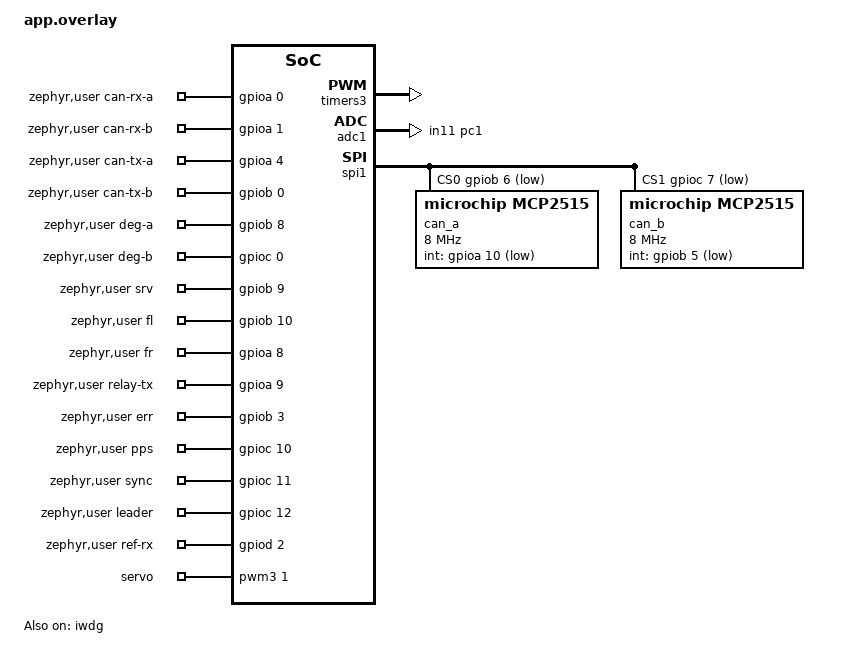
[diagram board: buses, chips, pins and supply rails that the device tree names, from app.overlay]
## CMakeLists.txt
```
cmake_minimum_required(VERSION 3.20.0)

find_package(Zephyr REQUIRED HINTS $ENV{ZEPHYR_BASE})
project(node2_front)

target_include_directories(app PRIVATE ${CMAKE_CURRENT_SOURCE_DIR}/../shared)

# Lab 5 startup mode, same on all three nodes (CMake caches these: pass
# -DLEADER=cockpit -DSEED= to go back):
#   west build ... -- -DLEADER=random            election at boot
#   west build ... -- -DLEADER=random -DSEED=408  reproducible; the Pi wins
if(DEFINED LEADER AND LEADER STREQUAL "random")
  target_compile_definitions(app PRIVATE RAFT_DEFAULT_LEADER=-1)
endif()
if(DEFINED SEED AND NOT SEED STREQUAL "")
  target_compile_definitions(app PRIVATE RAFT_ELECTION_SEED=${SEED}u)
endif()

target_sources(app PRIVATE
    ${CMAKE_CURRENT_SOURCE_DIR}/../shared/raft_agent.c
    ${CMAKE_CURRENT_SOURCE_DIR}/../shared/raft_transport.c
    ${CMAKE_CURRENT_SOURCE_DIR}/../shared/timesync.c
    # shared with node3_rear (identical files)
    src/main.c
    src/blink.c
    src/button.c
    src/canbus.c
    src/ctrl.c
    src/current_sensor.c
    src/evlog.c
    src/gtime.c
    src/hb.c
    src/relay.c
    src/raft_node.c
    src/report.c
    src/tp.c
    src/wcet.c
    src/jitter.c
    src/watchdog.c
    src/zone.c
    # N2 only: steering zone
    src/servo.c
    src/steer.c
)
```

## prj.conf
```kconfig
CONFIG_GPIO=y
CONFIG_SPI=y
CONFIG_CAN=y
# RX overrun counter in the 1 s summary (ovr=)
CONFIG_STATS=y
CONFIG_CAN_STATS=y
# CONFIG_CAN_MCP2515 is turned on automatically by the mcp2515 nodes in app.overlay
CONFIG_PWM=y
CONFIG_ADC=y
# Independent watchdog (R4.5) and reset-cause readout
CONFIG_WATCHDOG=y
CONFIG_HWINFO=y

CONFIG_CONSOLE=y
CONFIG_UART_CONSOLE=y
CONFIG_PRINTK=y

CONFIG_MAIN_STACK_SIZE=2048

# WCET measurement (src/wcet.c): per-thread CPU time, which stops while a
# thread is preempted or blocked. ANALYSIS adds the driver threads' longest run.
CONFIG_THREAD_RUNTIME_STATS=y
CONFIG_SCHED_THREAD_USAGE=y
CONFIG_SCHED_THREAD_USAGE_ANALYSIS=y
```

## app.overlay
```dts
/*
 * N2 (front, steering): two MCP2515 CAN modules on SPI1, the Lab 2 steering
 * servo and servo current sensor, and the Lab 3 test points.
 * Full pin and breadboard-row map: docs/lab3_pin_map.md
 */
#include <zephyr/dt-bindings/gpio/gpio.h>
#include <zephyr/dt-bindings/pwm/pwm.h>

/ {
	aliases {
		can-a = &can_a;
		can-b = &can_b;
	};

	zephyr,user {
		/* Test points (src/tp.c). Rows 1-2 of the test-point board are GND. */
		can-rx-a-gpios = <&gpioa 0 GPIO_ACTIVE_HIGH>;	/* row 3:  CAN_RX_A, A0 / PA0 */
		can-rx-b-gpios = <&gpioa 1 GPIO_ACTIVE_HIGH>;	/* row 4:  CAN_RX_B, A1 / PA1 */
		can-tx-a-gpios = <&gpioa 4 GPIO_ACTIVE_HIGH>;	/* row 5:  CAN_TX_A, A2 / PA4 */
		can-tx-b-gpios = <&gpiob 0 GPIO_ACTIVE_HIGH>;	/* row 6:  CAN_TX_B, A3 / PB0 */
		deg-a-gpios    = <&gpiob 8 GPIO_ACTIVE_HIGH>;	/* row 7:  DEG_A,    D15 / PB8, LED */
		deg-b-gpios    = <&gpioc 0 GPIO_ACTIVE_HIGH>;	/* row 8:  DEG_B,    A5 / PC0, LED */
		srv-gpios      = <&gpiob 9 GPIO_ACTIVE_HIGH>;	/* row 9:  SRV,      D14 / PB9: toggles on each servo duty set (servo PWM itself: D5 / PB4) */
		fl-gpios       = <&gpiob 10 GPIO_ACTIVE_HIGH>;	/* row 10: FL,       D6 / PB10, LED */
		fr-gpios       = <&gpioa 8 GPIO_ACTIVE_HIGH>;	/* row 11: FR,       D7 / PA8,  LED */
		relay-tx-gpios = <&gpioa 9 GPIO_ACTIVE_HIGH>;	/* row 12: RELAY_TX, D8 / PA9 */
		err-gpios      = <&gpiob 3 GPIO_ACTIVE_HIGH>;	/* row 13: ERR,      D3 / PB3 */
		/* Lab 5 (src/gtime.c). No Arduino pin is free, so N2 and N3 use the same
		 * morpho pins, labelled on the board: CN7 pins 1-4 (top of the left header). */
		pps-gpios      = <&gpioc 10 GPIO_ACTIVE_HIGH>;	/* PPS:    PC10, morpho CN7 pin 1 (rising edge each global second) */
		sync-gpios     = <&gpioc 11 GPIO_ACTIVE_HIGH>;	/* SYNC:   PC11, morpho CN7 pin 2 (LED) */
		leader-gpios   = <&gpioc 12 GPIO_ACTIVE_HIGH>;	/* LEADER: PC12, morpho CN7 pin 3 (LED) */
		ref-rx-gpios   = <&gpiod 2 GPIO_ACTIVE_HIGH>;	/* REF_RX: PD2,  morpho CN7 pin 4 (toggles per REF used) */

		/* Steering servo (src/servo.c), 50 Hz, as in Lab 2 */
		pwms = <&pwm3 1 PWM_MSEC(20) PWM_POLARITY_NORMAL>;
		pwm-names = "servo";
	};
};

/* ---- Board defaults that sit on pins this node uses ---- */
/* ---- Independent watchdog (src/watchdog.c); the window watchdog stays off ---- */
&iwdg { status = "okay"; };
&wwdg { status = "disabled"; };
&gpiod { status = "okay"; };	/* PD2: REF_RX test point */

&usart1 { status = "disabled"; };	/* PB6/PB7: PB6 is CAN A chip select */
&i2c1 { status = "disabled"; };		/* PB8/PB9: DEG_A, SRV */
&i2c3 { status = "disabled"; };		/* PA8/PC9: PA8 is FR */
&pwm2 { status = "disabled"; };		/* PWM LED on PA5 = SPI1 SCK */
&timers2 { status = "disabled"; };

/* ---- Servo PWM on D5 / PB4 (TIM3_CH1), 1 MHz timer tick (Lab 2) ---- */
&timers3 {
	status = "okay";
	st,prescaler = <83>;

	pwm3: pwm {
		status = "okay";
		pinctrl-0 = <&tim3_ch1_pb4>;
		pinctrl-names = "default";
	};
};

/* ---- Servo current sensor: PC1 = ADC1_IN11 (Lab 2) ---- */
&adc1 {
	pinctrl-0 = <&adc1_in11_pc1>;
	pinctrl-names = "default";
	status = "okay";
};

/*
 * ---- Two XIAO CAN modules (MCP2515 + SN65HVD230) on SPI1 ----
 *
 *   Module   Function   Nucleo
 *   D8       SCK        D13 / PA5   (shared)
 *   D10      MOSI       D11 / PA7   (shared)
 *   D9       MISO       D12 / PA6   (shared)
 *   D7       CS         CAN A: D10 / PB6    CAN B: D9 / PC7
 *   D6       INT        CAN A: D2  / PA10   CAN B: D4 / PB5
 *
 * osc-freq must match the crystal printed on the module's metal can.
 */
&spi1 {
	status = "okay";
	cs-gpios = <&gpiob 6 GPIO_ACTIVE_LOW>,	/* reg 0: CAN A */
		   <&gpioc 7 GPIO_ACTIVE_LOW>;	/* reg 1: CAN B */

	can_a: can@0 {
		compatible = "microchip,mcp2515";
		reg = <0>;
		/*
		 * Requests 8 MHz; SPI1 runs from the 84 MHz APB2 clock with power-of-two
		 * dividers, so the real clock is 84/16 = 5.25 MHz (4 MHz gave 2.625).
		 * Lab 5: N2 relays ~190 frames/s over this shared bus; at 2.625 MHz its
		 * TX completions fell behind and heartbeats found all 3 TX buffers busy.
		 * History: 1 MHz lost back-to-back frames. MCP2515 max is 10 MHz.
		 */
		spi-max-frequency = <8000000>;
		int-gpios = <&gpioa 10 (GPIO_ACTIVE_LOW | GPIO_PULL_UP)>;
		osc-freq = <16000000>;
		bitrate = <500000>;
		status = "okay";
	};

	can_b: can@1 {
		compatible = "microchip,mcp2515";
		reg = <1>;
		spi-max-frequency = <8000000>;
		int-gpios = <&gpiob 5 (GPIO_ACTIVE_LOW | GPIO_PULL_UP)>;
		osc-freq = <16000000>;
		bitrate = <500000>;
		status = "okay";
	};
};
```

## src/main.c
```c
/*
 * Lab 3 zone controller: shared dual-CAN layer, heartbeats, HB_MON with
 * degraded LEDs and zone failure, the N2 relay, test points, and the Lab 2
 * actuators and sensors for this zone (app.h: steer.c on N2, drive.c on N3).
 *
 * Threads (priority, lower = higher; all values in lab3_config.h):
 *   MCP2515 driver x2 (2)  SPI frame reads, toggles CAN_RX_A/B via canbus rx_cb
 *   relay      (3, N2)     bridges selected first copies to the other bus, RELAY_TX
 *   dispatch   (4)         dedup by (ID, seq), heartbeat ages, CTRL check,
 *                          HB/FAULT -> zone state, BLINK -> blink
 *   steer      (5, N2)     CTRL -> servo angle
 *   drive      (5, N3)     CTRL -> brake / coast / PID target
 *   blink      (5)         this zone's two blinker lamps
 *   test_btn   (5)         USER button B1 -> local fault / recover
 *   pid        (6, N3)     encoders -> motor duty every 10 ms
 *   pps        (6)         Lab 5: PPS edge on each global second, SYNC snapshot
 *   hb_tx      (7)         HB every 20 ms on both buses
 *   hb_mon     (8)         every 5 ms: DEG_A/B, zone lost, zone state, ERR, watchdog
 *   force      (9, N2)     FORCE every 50 ms
 *   current    (10)        current sensors every 20 ms
 *   report     (12)        console summary once a second
 *
 * Console: USART2 / ST-LINK virtual COM port, 115200 baud.
 */
#include <zephyr/kernel.h>
#include <zephyr/sys/printk.h>

#include "app.h"
#include "blink.h"
#include "button.h"
#include "canbus.h"
#include "gtime.h"
#include "ctrl.h"
#include "hb.h"
#include "lab3_config.h"
#include "node_config.h"
#include "raft_node.h"
#include "raft_config.h"
#include "relay.h"
#include "report.h"
#include "tp.h"
#include "watchdog.h"
#include "wcet.h"
#include "zone.h"

/* Dispatch thread: route the first copy of each frame. */
static void on_frame(const struct can_frame *frame, int bus)
{
	if (catalog_is_raft(frame->id)) {
		if ((frame->id & ~3u) == ID_REF(0)) {
			gtime_on_ref(frame, canbus_rx_cycles()); /* before any queueing */
		}
		raft_node_receive(frame);
		return;
	}
	if (frame->id == ID_CTRL) {
		ctrl_on_frame(frame);
	} else if (frame->id == ID_BLINK) {
		blink_on_frame(frame);
	} else if (catalog_is_hb(frame->id) || (frame->id >= ID_FAULT(0) && frame->id < ID_FAULT(NUM_NODES))) {
		zone_on_frame(frame);
	}
	app_on_frame(frame, bus);
}

int main(void)
{
	printk("Lab 3 zone %s: heartbeat 0x%03x every %d ms, relay %s\n", NODE_NAME,
	       ID_HB(NODE_SELF), HB_PERIOD_MS, RELAY_ENABLED ? "on" : "off");

	tp_init();
	wcet_init();
	if (TP_WALK_MS > 0) {
		tp_selftest(TP_WALK_MS);
	}
	/* Power up in the error state with both buses degraded until heartbeats arrive. */
	tp_set(TP_ERR, 1);
	tp_set(TP_DEG_A, 1);
	tp_set(TP_DEG_B, 1);

	gtime_init(); /* before CAN: the first REF may arrive at once */
	canbus_set_handler(on_frame);
	if (canbus_init() < 0) {
		printk("no CAN controller came up\n");
	}
	raft_node_init();
	relay_init();
	hb_init();
	report_init();

	/* Actuators safe, sensors calibrated (~0.75 s), then the zone's tasks. */
	int ret = app_init();

	if (ret < 0) {
		printk("app_init failed (%d): actuators stay in their safe state\n", ret);
	}
	blink_init();
	if (button_init() < 0) {
		printk("test button init failed\n");
	}
	/* Last, and only if the actuator task is running: it has to check in. */
	if (ret == 0) {
		watchdog_init();
	} else {
		printk("watchdog not started (no actuator task to supervise)\n");
	}
	return 0;
}
```

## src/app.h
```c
/*
 * Node-specific application, implemented by steer.c (N2) or drive.c (N3).
 * main.c and report.c are shared and call these.
 */
#ifndef APP_H
#define APP_H

#include <zephyr/drivers/can.h>

/* Puts actuators in their safe state, calibrates sensors, starts the tasks. */
int app_init(void);

/* Called by the dispatch thread with the first copy of each catalog frame. */
void app_on_frame(const struct can_frame *frame, int bus);

/* One or two lines for the once-a-second console summary. */
void app_report(void);

#endif /* APP_H */
```

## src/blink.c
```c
#include "blink.h"

#include <zephyr/kernel.h>
#include <zephyr/sys/atomic.h>

#include "catalog.h"
#include "blink_phase.h"
#include "evlog.h"
#include "gtime.h"
#include "hb.h"
#include "lab3_config.h"
#include "node_config.h"
#include "tp.h"
#include "wcet.h"
#include "zone.h"

#define BLINK_STACK_SIZE 1024
#define BLINK_POLL_US    10000 /* re-check zone, peers and BLINK age at least this often */

static atomic_t last_bits;      /* byte 1 of the last BLINK */
static atomic_t last_rx_ms;     /* 0 = never */
static atomic_t local_hazard;   /* half period of a local hazard, 0 = none */
static atomic_t lamp_half_ms;   /* half period now in use, 0 = lamps off */
static atomic_t lamps;          /* bit 0 left, bit 1 right: what's lit now */

K_SEM_DEFINE(blink_new, 0, 1);
K_THREAD_STACK_DEFINE(blink_stack, BLINK_STACK_SIZE);
static struct k_thread blink_data;

void blink_on_frame(const struct can_frame *frame)
{
	uint32_t now = k_uptime_get_32();

	atomic_set(&last_bits, frame->data[1]);
	atomic_set(&last_rx_ms, now != 0 ? now : 1);
	k_sem_give(&blink_new);
}

static void set_lamps(bool left, bool right)
{
	tp_set(BLINK_LAMP_LEFT, left);
	tp_set(BLINK_LAMP_RIGHT, right);
	atomic_set(&lamps, (left ? 1 : 0) | (right ? 2 : 0));
}

/* Half period for a cockpit BLINK mode; 0 = off. */
static uint32_t mode_half_ms(uint8_t mode)
{
	if (mode == (BLINK_LEFT | BLINK_RIGHT)) {
		return BLINK_HAZARD_HALF_MS;
	}
	return mode ? BLINK_TURN_HALF_MS : 0;
}

static void blink_thread(void *p1, void *p2, void *p3)
{
	uint8_t logged_mode = 0;
	uint32_t wait_us = 0;
	struct wcet_job job = WCET_JOB(WCET_BLINK);

	ARG_UNUSED(p1);
	ARG_UNUSED(p2);
	ARG_UNUSED(p3);

	for (;;) {
		/* A frame wakes us at once; otherwise the next lamp edge, or 10 ms. */
		wcet_end(&job);
		k_sem_take(&blink_new, K_USEC(wait_us));
		wcet_begin(&job);

		uint32_t now = k_uptime_get_32();
		uint32_t rx = (uint32_t)atomic_get(&last_rx_ms);
		/* Cockpit down: the vehicle's failure mode, hazards at 4 Hz. */
		bool failure = !hb_peer_alive(NODE_N1);
		bool hazard_here = zone_state() == ZONE_ISOLATED || failure ||
				   rx == 0 || now - rx > BLINK_STALE_MS;
		uint32_t half_ms;
		bool left, right;

		if (hazard_here) {
			half_ms = failure ? BLINK_FAILURE_HALF_MS : BLINK_HAZARD_HALF_MS;
			if ((uint32_t)atomic_get(&local_hazard) != half_ms) {
				if (zone_state() == ZONE_ISOLATED) {
					evlog("local hazard ON (%u Hz): zone ISOLATED", 500u / half_ms);
				} else if (failure) {
					evlog("local hazard ON (%u Hz): N1 heartbeat lost, failure mode",
					      500u / half_ms);
				} else if (rx == 0) {
					evlog("local hazard ON (%u Hz): no BLINK received yet",
					      500u / half_ms);
				} else {
					evlog("local hazard ON (%u Hz): no BLINK for %u ms",
					      500u / half_ms, now - rx);
				}
				atomic_set(&local_hazard, (atomic_val_t)half_ms);
			}
			left = right = true;
		} else {
			if (atomic_get(&local_hazard)) {
				evlog("local hazard off");
			}
			atomic_set(&local_hazard, 0);

			uint8_t mode = (uint8_t)atomic_get(&last_bits) & (BLINK_LEFT | BLINK_RIGHT);

			if (mode != logged_mode) {
				static const char *const names[] = {"off", "LEFT", "RIGHT", "HAZARD"};

				evlog("cockpit BLINK %s -> %s", names[logged_mode], names[mode]);
				logged_mode = mode;
			}
			half_ms = mode_half_ms(mode);
			left = mode & BLINK_LEFT;
			right = mode & BLINK_RIGHT;
		}
		atomic_set(&lamp_half_ms, (atomic_val_t)half_ms);

		/* Phase from global time, not from the BLINK frame: front and rear
		 * switch at the same global instant (shared/blink_phase.h). */
		uint64_t g = global_gettime();
		bool on = blink_phase_on(g, half_ms);

		set_lamps(on && left, on && right);

		uint64_t to_edge = half_ms ? blink_us_to_edge(g, half_ms) : BLINK_POLL_US;

		wait_us = (uint32_t)(to_edge < BLINK_POLL_US ? to_edge : BLINK_POLL_US);
	}
}

const char *blink_describe(void)
{
	static const char *const names[] = {"off", "LEFT", "RIGHT", "HAZARD"};
	static char buf[40];
	uint8_t bits = (uint8_t)atomic_get(&last_bits) & (BLINK_LEFT | BLINK_RIGHT);
	bool local = atomic_get(&local_hazard) != 0;
	uint32_t half = (uint32_t)atomic_get(&lamp_half_ms);
	int l = (int)atomic_get(&lamps);

	snprintk(buf, sizeof(buf), "%s%s %uHz, lamps %s", local ? "HAZARD" : names[bits],
		 local ? " (local)" : "", half ? 500u / half : 0u,
		 l == 3 ? "both on" : (l == 1 ? "L on" : (l == 2 ? "R on" : "off")));
	return buf;
}

int blink_init(void)
{
	k_thread_create(&blink_data, blink_stack, K_THREAD_STACK_SIZEOF(blink_stack), blink_thread,
			NULL, NULL, NULL, PRIO_BLINK, 0, K_NO_WAIT);
	k_thread_name_set(&blink_data, "blink");
	return 0;
}
```

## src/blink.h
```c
/*
 * BLINK_F (N2) / BLINK_R (N3): this zone's two blinker lamps (BLINK_LAMP_LEFT /
 * BLINK_LAMP_RIGHT in node_config.h).
 *
 * The cockpit's BLINK frames choose the mode (off, left, right, hazard). The
 * lamp phase comes from global_gettime() (shared/blink_phase.h), so front and
 * rear switch at the same global instant: turn signals 1 Hz, hazards 2 Hz.
 * If N1's heartbeat is lost (cockpit down: failure mode) the zone flashes
 * hazards at 4 Hz. If the zone is ISOLATED or no BLINK arrives for
 * BLINK_STALE_MS (2.6 s), it flashes hazards at 2 Hz. Phases stay
 * global-time aligned in every case.
 */
#ifndef BLINK_H
#define BLINK_H

#include <zephyr/drivers/can.h>

int blink_init(void);

/* Dispatch thread, first copy of each BLINK frame. */
void blink_on_frame(const struct can_frame *frame);

/* For the report: "LEFT on", "HAZARD (local) off", ... */
const char *blink_describe(void);

#endif /* BLINK_H */
```

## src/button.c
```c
/*
 * TEST_BTN: the Nucleo's blue USER button B1 (PC13, the board's sw0). The GPIO
 * interrupt only gives a semaphore; this thread debounces (TEST_BTN_DEBOUNCE_MS
 * lockout after an accepted press, so the first edge acts at once) and hands
 * the press to the zone state machine. Single press = local fail, double
 * press = recover (zone.c).
 */
#include "button.h"

#include <zephyr/drivers/gpio.h>
#include <zephyr/kernel.h>
#include <zephyr/sys/printk.h>

#include "lab3_config.h"
#include "wcet.h"
#include "zone.h"

#define BUTTON_STACK_SIZE 1024

static const struct gpio_dt_spec button = GPIO_DT_SPEC_GET(DT_ALIAS(sw0), gpios);
static struct gpio_callback button_cb;

K_SEM_DEFINE(button_sem, 0, 1);
K_THREAD_STACK_DEFINE(button_stack, BUTTON_STACK_SIZE);
static struct k_thread button_data;

static void button_isr(const struct device *dev, struct gpio_callback *cb, uint32_t pins)
{
	ARG_UNUSED(dev);
	ARG_UNUSED(cb);
	ARG_UNUSED(pins);
	k_sem_give(&button_sem);
}

static void button_thread(void *p1, void *p2, void *p3)
{
	uint32_t last_press = 0;
	bool first = true;
	struct wcet_job job = WCET_JOB(WCET_TEST_BTN);

	ARG_UNUSED(p1);
	ARG_UNUSED(p2);
	ARG_UNUSED(p3);

	for (;;) {
		wcet_end(&job);
		k_sem_take(&button_sem, K_FOREVER);
		wcet_begin(&job);

		uint32_t now = k_uptime_get_32();

		if (!first && now - last_press < TEST_BTN_DEBOUNCE_MS) {
			continue; /* contact bounce */
		}
		first = false;
		last_press = now;
		zone_test_button();
	}
}

int button_init(void)
{
	int ret;

	if (!gpio_is_ready_dt(&button)) {
		return -ENODEV;
	}
	ret = gpio_pin_configure_dt(&button, GPIO_INPUT);
	ret = ret ? ret : gpio_pin_interrupt_configure_dt(&button, GPIO_INT_EDGE_TO_ACTIVE);
	if (ret < 0) {
		return ret;
	}
	gpio_init_callback(&button_cb, button_isr, BIT(button.pin));
	gpio_add_callback(button.port, &button_cb);

	k_thread_create(&button_data, button_stack, K_THREAD_STACK_SIZEOF(button_stack),
			button_thread, NULL, NULL, NULL, PRIO_TEST_BTN, 0, K_NO_WAIT);
	k_thread_name_set(&button_data, "test_btn");
	return 0;
}
```

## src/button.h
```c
/* TEST_BTN on the USER button B1 (PC13). */
#ifndef BUTTON_H
#define BUTTON_H

int button_init(void);

#endif /* BUTTON_H */
```

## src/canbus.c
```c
#include "canbus.h"

#include <string.h>

#include <zephyr/kernel.h>
#include <zephyr/sys/printk.h>

#include "lab3_config.h"
#include "node_config.h"
#include "raft_node.h"
#include "raft_route.h"
#include "tp.h"
#include "jitter.h"
#include "wcet.h"

#define DISPATCH_STACK_SIZE 1536
#define RX_QUEUE_DEPTH      32

static const struct device *const can_devs[NUM_BUSES] = {
	DEVICE_DT_GET(DT_ALIAS(can_a)),
	DEVICE_DT_GET(DT_ALIAS(can_b)),
};
static const char bus_name[NUM_BUSES] = {'A', 'B'};
static const enum tp_id tp_rx[NUM_BUSES] = {TP_CAN_RX_A, TP_CAN_RX_B};
static const enum tp_id tp_tx[NUM_BUSES] = {TP_CAN_TX_A, TP_CAN_TX_B};

const uint16_t canbus_slot_id[CANBUS_NUM_SLOTS] = {
	ID_CTRL,
	ID_FAULT(NODE_N1), ID_FAULT(NODE_N2), ID_FAULT(NODE_N3),
	ID_HB(NODE_N1), ID_HB(NODE_N2), ID_HB(NODE_N3),
	ID_BLINK,
	ID_FORCE,
};

/* Hardware filters: masks cover the FAULT and HB ranges in one filter each. */
static const struct can_filter catalog_filters[] = {
	{.id = ID_CTRL, .mask = CAN_STD_ID_MASK},
	{.id = ID_FAULT(0), .mask = 0x7FC}, /* 0x020-0x023 */
	{.id = ID_HB(0), .mask = 0x7FC},    /* 0x100-0x103 */
	/* BLINK 0x200 and FORCE 0x300 differ only in bit 8: one filter keeps us at six. */
	{.id = ID_BLINK, .mask = CAN_STD_ID_MASK & ~(ID_BLINK ^ ID_FORCE)},
	{.id = ID_REF(0), .mask = RAFT_REF_FILTER_MASK},          /* 0x040-0x043 */
	{.id = ID_RAFT_BULK_BASE, .mask = RAFT_BULK_FILTER_MASK}, /* 0x140-0x17F */
};

struct canbus_stats canbus_stats;

static bool bus_running[NUM_BUSES];
static atomic_t bus_degraded[NUM_BUSES];
/*
 * Frames handed to the MCP2515 and not yet completed, per bus. The chip has
 * three TX buffers; bulk Raft fragments may use at most RAFT_TX_MAX_INFLIGHT
 * of them, so a heartbeat, CTRL, or FAULT (sent with K_NO_WAIT) always finds
 * one free. REF is a single periodic frame and is not limited.
 */
static atomic_t tx_inflight[NUM_BUSES];
static atomic_t bus_busoff[NUM_BUSES];

static canbus_handler_t relay_hook;
static uint32_t cur_rx_t; /* dispatch thread: t_rx of the frame being handled */
static canbus_handler_t app_handler;

/* Per-ID send sequence counters. */
static uint8_t tx_seq[CANBUS_NUM_SLOTS];
static struct k_spinlock tx_lock;

/* HB_TX and HB_MON can both flush a bus; one stop/start at a time. */
K_MUTEX_DEFINE(flush_lock);

/* Dispatch thread state (only the dispatch thread writes these). */
struct seen {
	int64_t ms;
	uint8_t seq;
	bool valid;
};
static struct seen seen[CANBUS_NUM_SLOTS];
struct raft_recent {
	uint32_t id;
	int64_t ms;
	uint8_t data[FRAME_DLC];
};
static struct raft_recent raft_recent[32];
static uint8_t raft_recent_next;
/* 32-bit so other threads read it in one access; 0 = never heard. */
static uint32_t last_hb_ms[NUM_BUSES][NUM_NODES];

struct rx_item {
	uint8_t bus;
	uint32_t t_rx; /* k_cycle_get_32() in rx_cb */
	struct can_frame frame;
};
K_MSGQ_DEFINE(rx_q, sizeof(struct rx_item), RX_QUEUE_DEPTH, 4);

K_THREAD_STACK_DEFINE(dispatch_stack, DISPATCH_STACK_SIZE);
static struct k_thread dispatch_thread_data;

static int slot_of(uint32_t id)
{
	for (int i = 0; i < CANBUS_NUM_SLOTS; i++) {
		if (canbus_slot_id[i] == id) {
			return i;
		}
	}
	return -1;
}

static bool raft_duplicate(const struct can_frame *f, int64_t now)
{
	for (size_t i = 0; i < ARRAY_SIZE(raft_recent); i++) {
		if (raft_recent[i].id == f->id && now - raft_recent[i].ms < DUP_WINDOW_MS &&
		    memcmp(raft_recent[i].data, f->data, FRAME_DLC) == 0) {
			return true;
		}
	}
	struct raft_recent *r = &raft_recent[raft_recent_next++ % ARRAY_SIZE(raft_recent)];

	r->id = f->id;
	r->ms = now;
	memcpy(r->data, f->data, FRAME_DLC);
	return false;
}

const struct device *canbus_dev(int bus)
{
	return can_devs[bus];
}

/* MCP2515 driver thread, right after the SPI read: no printing, just queue it. */
static void rx_cb(const struct device *dev, struct can_frame *frame, void *user_data)
{
	struct rx_item item = {.bus = (uint8_t)(uintptr_t)user_data, .frame = *frame};

	ARG_UNUSED(dev);
	item.t_rx = jit_now();
	tp_toggle(tp_rx[item.bus]);
	wcet_driver_seen(item.bus);
	if (k_msgq_put(&rx_q, &item, K_NO_WAIT) != 0) {
		atomic_inc(&canbus_stats.rx_dropped);
	}
}

static void tx_cb(const struct device *dev, int error, void *user_data)
{
	int bus = (int)(uintptr_t)user_data;

	ARG_UNUSED(dev);
	if (atomic_dec(&tx_inflight[bus]) <= 0) {
		atomic_set(&tx_inflight[bus], 0); /* never below zero after a flush */
	}
	atomic_inc(error == 0 ? &canbus_stats.bus[bus].tx_ok : &canbus_stats.bus[bus].tx_err);
}

/* Counts the buffer before can_send() so tx_cb can never run first. */
static int send_counted(int bus, const struct can_frame *frame, k_timeout_t wait)
{
	struct canbus_bus_stats *b = &canbus_stats.bus[bus];
	atomic_val_t now = atomic_inc(&tx_inflight[bus]) + 1;

	if (now > atomic_get(&b->infl_max)) {
		atomic_set(&b->infl_max, now);
	}
	int ret = can_send(can_devs[bus], frame, wait, tx_cb, (void *)(uintptr_t)bus);

	if (ret < 0) {
		atomic_dec(&tx_inflight[bus]);
	} else {
		atomic_inc(&b->tx_queued);
	}
	return ret;
}

static bool is_raft_bulk(uint32_t id)
{
	return catalog_is_raft(id) && (id & ~3u) != ID_REF(0);
}

bool canbus_raft_tx_ready(int bus)
{
	return atomic_get(&tx_inflight[bus]) < RAFT_TX_MAX_INFLIGHT;
}

bool canbus_raft_wait_reserve(int bus)
{
	uint32_t start = k_cycle_get_32();

	while (!canbus_raft_tx_ready(bus)) {
		if (k_cyc_to_us_floor32(k_cycle_get_32() - start) >= RAFT_TX_RESERVE_WAIT_US) {
			return false;
		}
		k_sleep(K_USEC(100));
	}
	return true;
}

long canbus_tx_inflight(int bus)
{
	return (long)atomic_get(&tx_inflight[bus]);
}

static void state_cb(const struct device *dev, enum can_state state, struct can_bus_err_cnt err,
		     void *user_data)
{
	ARG_UNUSED(dev);
	ARG_UNUSED(err);
	if (state == CAN_STATE_BUS_OFF) {
		atomic_set(&bus_busoff[(int)(uintptr_t)user_data], 1);
	}
}

static void dispatch_thread(void *p1, void *p2, void *p3)
{
	struct rx_item item;
	struct wcet_job job = WCET_JOB(WCET_DISPATCH);

	ARG_UNUSED(p1);
	ARG_UNUSED(p2);
	ARG_UNUSED(p3);

	for (;;) {
		wcet_end(&job);
		k_msgq_get(&rx_q, &item, K_FOREVER);
		wcet_begin(&job);

		const struct can_frame *f = &item.frame;

		job.slot = f->id == ID_CTRL ? WCET_DISPATCH_CTRL : WCET_DISPATCH;
		int slot = slot_of(f->id);
		int sender = catalog_sender(f->id);
		int64_t now = k_uptime_get();
		if (catalog_is_raft(f->id) && f->dlc == FRAME_DLC) {
			if (sender == NODE_SELF) {
				atomic_inc(&canbus_stats.own_echo);
			} else if (raft_duplicate(f, now)) {
				atomic_inc(&canbus_stats.duplicates);
			} else {
				cur_rx_t = item.t_rx;
				if (relay_hook) {
					relay_hook(f, item.bus);
				}
				if (app_handler) {
					app_handler(f, item.bus);
				}
			}
			continue;
		}

		if (slot < 0 || f->dlc != FRAME_DLC) {
			atomic_inc(&canbus_stats.unknown_id);
			continue;
		}
		atomic_inc(&canbus_stats.bus[item.bus].rx[slot]);

		/* Our own frame, relayed back to us by N2. */
		if (sender == NODE_SELF) {
			atomic_inc(&canbus_stats.own_echo);
			continue;
		}

		/* Presence counts every copy: a relayed heartbeat still means "alive". */
		if (catalog_is_hb(f->id)) {
			uint32_t t = (uint32_t)now;

			last_hb_ms[item.bus][sender] = t != 0 ? t : 1;
		}

		uint8_t seq = f->data[0] & SEQ_MASK;
		struct seen *s = &seen[slot];

		if (s->valid && s->seq == seq && now - s->ms < DUP_WINDOW_MS) {
			atomic_inc(&canbus_stats.duplicates);
			continue;
		}
		if (s->valid && seq != ((s->seq + 1) & SEQ_MASK)) {
			atomic_add(&canbus_stats.gaps[slot], (seq - s->seq - 1) & SEQ_MASK);
		}
		s->seq = seq;
		s->ms = now;
		s->valid = true;
		atomic_inc(&canbus_stats.accepted[slot]);

		cur_rx_t = item.t_rx;
		if (relay_hook) {
			relay_hook(f, item.bus);
		}
		if (app_handler) {
			app_handler(f, item.bus);
		}
	}
}

uint32_t canbus_rx_cycles(void)
{
	return cur_rx_t;
}

static int queue_on(int bus, const struct can_frame *frame, uint32_t release, bool relayed,
		    k_timeout_t wait)
{
	int ret;

	tp_toggle(tp_tx[bus]);
	ret = send_counted(bus, frame, wait);
	if (ret == 0) {
		jit_note(frame->id, bus, release, relayed);
	}
	if (ret == -EAGAIN) {
		atomic_inc(&canbus_stats.bus[bus].tx_full); /* all 3 TX buffers busy */
	} else if (ret < 0) {
		atomic_inc(&canbus_stats.bus[bus].tx_err);
	}
	return ret;
}

int canbus_send(uint32_t id, uint8_t payload[FRAME_DLC], bool include_degraded)
{
	return canbus_send_at(id, payload, include_degraded, 0);
}

int canbus_send_raft(uint32_t id, const uint8_t payload[FRAME_DLC])
{
	struct can_frame frame = {.id = id, .dlc = FRAME_DLC};
	int sent = 0;

	if (!catalog_is_raft(id) || catalog_sender(id) != NODE_SELF) {
		return -EINVAL;
	}
	memcpy(frame.data, payload, FRAME_DLC);
	for (int bus = 0; bus < NUM_BUSES; bus++) {
		if (!bus_running[bus] || atomic_get(&bus_degraded[bus])) {
			continue;
		}
		if (!raft_route_send_on_bus(raft_node_route_snapshot(), NODE_SELF, bus,
			bus_running[1 - bus] && !atomic_get(&bus_degraded[1 - bus]))) {
			atomic_inc(&canbus_stats.bus[bus].tx_skipped);
			continue;
		}
		/*
		 * Prefer to leave the last TX buffer to Lab 3 frames, but never skip a
		 * fragment for it: a missing fragment loses the whole message.
		 */
		if (is_raft_bulk(id) && !canbus_raft_wait_reserve(bus)) {
			atomic_inc(&canbus_stats.bus[bus].raft_late);
		}
		tp_toggle(tp_tx[bus]);
		int ret = send_counted(bus, &frame, K_MSEC(2));
		if (ret == 0) {
			sent++;
		} else if (ret == -EAGAIN) {
			atomic_inc(&canbus_stats.bus[bus].tx_full);
		} else {
			atomic_inc(&canbus_stats.bus[bus].tx_err);
		}
	}
	return sent ? 0 : -EIO;
}

int canbus_send_at(uint32_t id, uint8_t payload[FRAME_DLC], bool include_degraded,
		   uint32_t release)
{
	int slot = slot_of(id);
	struct can_frame frame = {.id = id, .dlc = FRAME_DLC};
	int sent = 0;

	if (slot < 0) {
		return -EINVAL;
	}

	k_spinlock_key_t key = k_spin_lock(&tx_lock);
	payload[0] = tx_seq[slot] & SEQ_MASK; /* flags nibble: none defined */
	tx_seq[slot] = (tx_seq[slot] + 1) & SEQ_MASK;
	k_spin_unlock(&tx_lock, key);

	memcpy(frame.data, payload, FRAME_DLC);

	for (int bus = 0; bus < NUM_BUSES; bus++) {
		if (!bus_running[bus]) {
			continue;
		}
		if (!include_degraded && atomic_get(&bus_degraded[bus])) {
			atomic_inc(&canbus_stats.bus[bus].tx_skipped);
			continue;
		}
		if (!include_degraded &&
		    !raft_route_send_on_bus(raft_node_route_snapshot(), NODE_SELF, bus,
			bus_running[1 - bus] && !atomic_get(&bus_degraded[1 - bus]))) {
			atomic_inc(&canbus_stats.bus[bus].tx_skipped);
			continue;
		}
		/*
		 * Our heartbeat may wait briefly for a TX buffer: the driver frees a
		 * buffer a little after its TX callback, so K_NO_WAIT sometimes found
		 * none free and the heartbeat was lost. Not on a degraded bus, where
		 * unACKed heartbeats can hold every buffer and waiting cannot help.
		 */
		k_timeout_t wait = catalog_is_hb(id) && !atomic_get(&bus_degraded[bus]) ?
					   K_USEC(HB_TX_WAIT_US) : K_NO_WAIT;

		if (queue_on(bus, &frame, release, false, wait) == 0) {
			sent++;
		}
	}
	return sent > 0 ? 0 : -EIO;
}

int canbus_forward(int bus, const struct can_frame *frame)
{
	return canbus_forward_at(bus, frame, 0);
}

int canbus_forward_at(int bus, const struct can_frame *frame, uint32_t release)
{
	if (!bus_running[bus]) {
		return -ENETDOWN;
	}
	if (atomic_get(&bus_degraded[bus])) {
		atomic_inc(&canbus_stats.bus[bus].tx_skipped);
		return -ENETUNREACH;
	}
	return queue_on(bus, frame, release, true, K_NO_WAIT);
}

int canbus_forward_try(int bus, const struct can_frame *frame, uint32_t release)
{
	if (!bus_running[bus]) {
		return -ENETDOWN;
	}
	if (atomic_get(&bus_degraded[bus])) {
		atomic_inc(&canbus_stats.bus[bus].tx_skipped);
		return -ENETUNREACH;
	}
	int ret = send_counted(bus, frame, K_NO_WAIT);

	if (ret == 0) {
		tp_toggle(tp_tx[bus]);
		jit_note(frame->id, bus, release, true);
	} else if (ret != -EAGAIN) {
		atomic_inc(&canbus_stats.bus[bus].tx_err);
	}
	return ret;
}

void canbus_note_tx_full(int bus)
{
	atomic_inc(&canbus_stats.bus[bus].tx_full);
}

void canbus_flush(int bus)
{
	if (!bus_running[bus]) {
		return;
	}
	/* can_stop() aborts pending transmissions; restart keeps the filters. */
	k_mutex_lock(&flush_lock, K_FOREVER);
	can_stop(can_devs[bus]);
	atomic_set(&tx_inflight[bus], 0); /* stop aborted everything pending */
	can_start(can_devs[bus]);
	k_mutex_unlock(&flush_lock);
}

bool canbus_bus_running(int bus)
{
	return bus_running[bus];
}

void canbus_set_degraded(int bus, bool degraded)
{
	atomic_set(&bus_degraded[bus], degraded ? 1 : 0);
}

bool canbus_is_degraded(int bus)
{
	return atomic_get(&bus_degraded[bus]) != 0;
}

uint32_t canbus_last_hb_ms(int bus, int node)
{
	return last_hb_ms[bus][node];
}

bool canbus_take_busoff(int bus)
{
	return atomic_clear(&bus_busoff[bus]) != 0;
}

void canbus_set_relay_hook(canbus_handler_t hook)
{
	relay_hook = hook;
}

void canbus_set_handler(canbus_handler_t handler)
{
	app_handler = handler;
}

static int setup_bus(int bus)
{
	const struct device *dev = can_devs[bus];
	int ret;

	if (!device_is_ready(dev)) {
		printk("CAN %c (%s): not ready - check SPI wiring, CS pin and osc-freq\n",
		       bus_name[bus], dev->name);
		return -ENODEV;
	}

	for (size_t i = 0; i < ARRAY_SIZE(catalog_filters); i++) {
		ret = can_add_rx_filter(dev, rx_cb, (void *)(uintptr_t)bus, &catalog_filters[i]);
		if (ret < 0) {
			printk("CAN %c: can_add_rx_filter failed (%d)\n", bus_name[bus], ret);
			return ret;
		}
	}
	/*
	 * Deprecated in Zephyr 4.5 in favour of can_add_state_change_callback(),
	 * which older 4.4 trees don't have yet; this one works in both.
	 */
	can_set_state_change_callback(dev, state_cb, (void *)(uintptr_t)bus);

	ret = can_start(dev);
	if (ret < 0) {
		printk("CAN %c: can_start failed (%d)\n", bus_name[bus], ret);
		return ret;
	}
	printk("CAN %c (%s): started\n", bus_name[bus], dev->name);
	return 0;
}

int canbus_init(void)
{
	int up = 0;

	k_thread_create(&dispatch_thread_data, dispatch_stack,
			K_THREAD_STACK_SIZEOF(dispatch_stack), dispatch_thread, NULL, NULL, NULL,
			PRIO_DISPATCH, 0, K_NO_WAIT);
	k_thread_name_set(&dispatch_thread_data, "dispatch");

	for (int bus = 0; bus < NUM_BUSES; bus++) {
		bus_running[bus] = (setup_bus(bus) == 0);
		atomic_set(&bus_degraded[bus], 1); /* until a heartbeat is heard */
		up += bus_running[bus];
	}
	return up > 0 ? 0 : -ENODEV;
}
```

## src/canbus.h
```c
/*
 * Shared dual-CAN layer.
 *
 *  - Both MCP2515 controllers, with receive filters for the catalog IDs only.
 *  - canbus_send(): queues one frame on selected usable buses with the same
 *    per-ID sequence number, bumped once.
 *  - One dispatch thread that drops duplicates by (ID, seq) - the A copy, the
 *    B copy and any relayed copy - before anything else sees the frame, and
 *    records when each node's heartbeat was last heard on each bus.
 */
#ifndef CANBUS_H
#define CANBUS_H

#include <stdbool.h>
#include <stdint.h>
#include <zephyr/drivers/can.h>
#include <zephyr/sys/atomic.h>

#include "catalog.h"

enum { BUS_A = 0, BUS_B = 1, NUM_BUSES = 2 };

/* Called from the dispatch thread with the first copy of each frame. */
typedef void (*canbus_handler_t)(const struct can_frame *frame, int bus);

int canbus_init(void);

/* Receivers of first copies. The relay hook runs before the application handler. */
void canbus_set_relay_hook(canbus_handler_t hook);
void canbus_set_handler(canbus_handler_t handler);

/*
 * Sends payload (bytes 1-7 used; byte 0 is overwritten with the sequence
 * number) on graph-selected usable buses. Buses marked degraded are skipped
 * unless include_degraded is set (heartbeats keep probing for recovery).
 */
int canbus_send(uint32_t id, uint8_t payload[FRAME_DLC], bool include_degraded);

/*
 * Same, recording J = now - release (k_cycle_get_32() of the triggering event,
 * from jit_now()) per bus once each copy is queued. release 0 records nothing.
 */
int canbus_send_at(uint32_t id, uint8_t payload[FRAME_DLC], bool include_degraded,
		   uint32_t release);

/* Sends one raw Lab 5 frame without overwriting byte 0 with a Lab 3 sequence. */
/*
 * True while bulk Raft frames may use another TX buffer on this bus: at most
 * RAFT_TX_MAX_INFLIGHT of the MCP2515's three, so Lab 3 frames keep one.
 */
bool canbus_raft_tx_ready(int bus);

/*
 * Wait up to RAFT_TX_RESERVE_WAIT_US for canbus_raft_tx_ready(). Returns
 * false on timeout; the caller then sends anyway (fail-safe: a Raft message
 * is never abandoned part-way because of the reserve).
 */
bool canbus_raft_wait_reserve(int bus);

/* Frames handed to the MCP2515 and not yet completed (debug). */
long canbus_tx_inflight(int bus);
int canbus_send_raft(uint32_t id, const uint8_t payload[FRAME_DLC]);

/* Queues a bit-identical copy of frame on one bus (the relay). */
int canbus_forward(int bus, const struct can_frame *frame);
int canbus_forward_at(int bus, const struct can_frame *frame, uint32_t release);

/* In a relay hook / handler: k_cycle_get_32() when rx_cb got this frame. */
uint32_t canbus_rx_cycles(void);

/* Aborts every transmission still pending on bus (stale frames on a dead link). */
void canbus_flush(int bus);

bool canbus_bus_running(int bus);
void canbus_set_degraded(int bus, bool degraded);
bool canbus_is_degraded(int bus);

/*
 * k_uptime_get_32() of the last heartbeat from node on bus (any copy, relayed
 * or not); 0 = never heard.
 */
uint32_t canbus_last_hb_ms(int bus, int node);

/* True once if the controller went bus-off since the last call. */
bool canbus_take_busoff(int bus);

/* ---- statistics, read and cleared by the report thread ---- */
#define CANBUS_NUM_SLOTS 9 /* catalog IDs */

struct canbus_bus_stats {
	atomic_t rx[CANBUS_NUM_SLOTS]; /* every copy received on this bus */
	atomic_t tx_ok, tx_err, tx_full, tx_skipped;
	atomic_t tx_queued; /* can_send() accepted; should equal tx_ok + tx_err */
	atomic_t raft_late; /* Raft sent without the reserve: none free within the wait */
	atomic_t infl_max;  /* most frames in flight seen at a send */
};

struct canbus_stats {
	struct canbus_bus_stats bus[NUM_BUSES];
	atomic_t accepted[CANBUS_NUM_SLOTS]; /* first copies */
	atomic_t gaps[CANBUS_NUM_SLOTS];     /* sequence numbers never received */
	atomic_t duplicates, own_echo, unknown_id, rx_dropped;
};

extern struct canbus_stats canbus_stats;
extern const uint16_t canbus_slot_id[CANBUS_NUM_SLOTS];
const struct device *canbus_dev(int bus);

#endif /* CANBUS_H */
```

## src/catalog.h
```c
/* Zephyr-specific CTRL helpers. Wire definitions live in shared/protocol.h. */
#ifndef CATALOG_H
#define CATALOG_H

#include <zephyr/sys/byteorder.h>
#include "protocol.h"
#include "raft_wire.h"

/* Fills bytes 1-7; call after byte 0 (sequence) is set, since the CRC covers it. */
static inline void ctrl_encode(const struct ctrl_cmd *cmd, uint8_t data[FRAME_DLC])
{
	sys_put_le16((uint16_t)cmd->steer, &data[1]);
	data[3] = cmd->throttle;
	data[4] = cmd->brake;
	data[5] = cmd->buttons;
	data[6] = crc8_j1850(data, CTRL_CRC_LEN);
	data[7] = 0;
}

static inline void ctrl_decode(const uint8_t data[FRAME_DLC], struct ctrl_cmd *cmd)
{
	cmd->steer = (int16_t)sys_get_le16(&data[1]);
	cmd->throttle = data[3];
	cmd->brake = data[4];
	cmd->buttons = data[5];
}

/*
 * Validates a received CTRL payload: FAULT_NONE if usable, else the Lab 1
 * fault code to report (CTRL_MALFORMED for a bad CRC or reserved bits,
 * CTRL_RANGE for an out-of-range value). Every uint8 pedal value is valid.
 */
static inline enum fault_code ctrl_check(const uint8_t data[FRAME_DLC], struct ctrl_cmd *cmd)
{
	if (crc8_j1850(data, CTRL_CRC_LEN) != data[6] || data[7] != 0) {
		return FAULT_CTRL_MALFORMED;
	}
	ctrl_decode(data, cmd);
	if (cmd->steer < CTRL_STEER_MIN || cmd->steer > CTRL_STEER_MAX ||
	    (cmd->buttons & ~CTRL_BTN_MASK) != 0) {
		return FAULT_CTRL_RANGE;
	}
	return FAULT_NONE;
}

#endif /* CATALOG_H */
```

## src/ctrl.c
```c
#include "ctrl.h"

#include "lab3_config.h"
#include "zone.h"

struct ctrl_stats ctrl_stats;

static struct k_spinlock lock;
static struct ctrl_cmd latest;
static uint32_t latest_ms;
static bool have;

K_SEM_DEFINE(ctrl_new, 0, 1);

void ctrl_on_frame(const struct can_frame *frame)
{
	struct ctrl_cmd cmd;
	enum fault_code fault = ctrl_check(frame->data, &cmd);

	if (fault != FAULT_NONE) {
		/* Keep the old command; the zone goes to error and sends FAULT_Nx. */
		atomic_inc(fault == FAULT_CTRL_MALFORMED ? &ctrl_stats.malformed
							 : &ctrl_stats.out_of_range);
		atomic_set(&ctrl_stats.last_fault, fault);
		zone_ctrl_rejected(fault);
		k_sem_give(&ctrl_new); /* wake the actuator task: go safe now */
		return;
	}

	k_spinlock_key_t key = k_spin_lock(&lock);
	latest = cmd;
	latest_ms = k_uptime_get_32();
	have = true;
	k_spin_unlock(&lock, key);

	atomic_inc(&ctrl_stats.ok);
	zone_ctrl_accepted();
	k_sem_give(&ctrl_new);
}

void ctrl_kick(void)
{
	k_sem_give(&ctrl_new);
}

bool ctrl_get(struct ctrl_cmd *cmd, uint32_t *age_ms)
{
	k_spinlock_key_t key = k_spin_lock(&lock);
	bool ok = have;

	if (ok) {
		*cmd = latest;
		*age_ms = k_uptime_get_32() - latest_ms;
	}
	k_spin_unlock(&lock, key);
	return ok;
}

bool ctrl_fresh(void)
{
	struct ctrl_cmd cmd;
	uint32_t age;

	return ctrl_get(&cmd, &age) && age < CTRL_TIMEOUT_MS;
}

bool ctrl_wait(k_timeout_t timeout)
{
	return k_sem_take(&ctrl_new, timeout) == 0;
}
```

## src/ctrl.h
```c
/*
 * Latest valid CTRL command, shared by the dispatch thread (writer) and the
 * node's actuator task (DRIVE on N3, STEER on N2). ctrl_on_frame() runs in
 * dispatch; a valid frame wakes the actuator task right away (brake path).
 */
#ifndef CTRL_H
#define CTRL_H

#include <stdbool.h>
#include <stdint.h>
#include <zephyr/drivers/can.h>
#include <zephyr/kernel.h>
#include <zephyr/sys/atomic.h>

#include "catalog.h"

void ctrl_on_frame(const struct can_frame *frame);

/* Copies the latest valid command and its age in ms; false if none yet. */
bool ctrl_get(struct ctrl_cmd *cmd, uint32_t *age_ms);

/* True if a valid command arrived less than CTRL_TIMEOUT_MS ago. */
bool ctrl_fresh(void);

/* Blocks until a new valid command arrives or timeout; true if one arrived. */
bool ctrl_wait(k_timeout_t timeout);

/* Wakes the actuator task early (e.g. the zone just left NORMAL). */
void ctrl_kick(void);

struct ctrl_stats {
	atomic_t ok, malformed, out_of_range;
	atomic_t last_fault; /* enum fault_code of the last rejected frame */
};
extern struct ctrl_stats ctrl_stats;

#endif /* CTRL_H */
```

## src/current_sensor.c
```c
/* Ported from Lab 2 src/drivers/current_sensor.c and src/tasks/current_sensing.c. */
#include "current_sensor.h"

#include <errno.h>

#include <zephyr/device.h>
#include <zephyr/drivers/adc.h>
#include <zephyr/kernel.h>
#include <zephyr/sys/atomic.h>
#include <zephyr/sys/printk.h>
#include <zephyr/sys/util.h>

#include "lab3_config.h"
#include "node_config.h"

#define ADC_REFERENCE_MV     3300
#define ADC_COUNTS           4096
#define DIVIDER_FACTOR       2
#define SENSITIVITY_MV_PER_A 185

#define ZERO_SAMPLES 128
#define READ_SAMPLES 16
#define RAW_SCALE    256

#define CURRENT_STACK_SIZE 1024

static const struct current_channel channels[] = CURRENT_CHANNELS;
#define NUM_CHANNELS ARRAY_SIZE(channels)

static const struct device *const adc_dev = DEVICE_DT_GET(DT_NODELABEL(adc1));

static int32_t zero_scaled[NUM_CHANNELS];
static atomic_t latest_ma[NUM_CHANNELS];
static atomic_t have_reading;

K_THREAD_STACK_DEFINE(current_stack, CURRENT_STACK_SIZE);
static struct k_thread current_data;

static int read_channel(uint8_t channel, int16_t *sample)
{
	struct adc_sequence sequence = {
		.channels = BIT(channel),
		.buffer = sample,
		.buffer_size = sizeof(*sample),
		.resolution = 12,
	};

	return adc_read(adc_dev, &sequence);
}

static int32_t convert_to_ma(int32_t raw_scaled, int i)
{
	int64_t delta = (int64_t)raw_scaled - zero_scaled[i];
	int64_t numerator = delta * ADC_REFERENCE_MV * DIVIDER_FACTOR * 1000 * channels[i].polarity;
	int64_t denominator = (int64_t)RAW_SCALE * ADC_COUNTS * SENSITIVITY_MV_PER_A;

	return (int32_t)(numerator / denominator);
}

static void current_thread(void *p1, void *p2, void *p3)
{
	int64_t next = k_uptime_get();

	ARG_UNUSED(p1);
	ARG_UNUSED(p2);
	ARG_UNUSED(p3);

	for (;;) {
		int32_t sums[NUM_CHANNELS] = {0};
		int16_t sample;
		int ret = 0;

		for (int n = 0; n < READ_SAMPLES && ret == 0; n++) {
			for (size_t i = 0; i < NUM_CHANNELS && ret == 0; i++) {
				ret = read_channel(channels[i].adc_channel, &sample);
				sums[i] += sample;
			}
		}
		if (ret == 0) {
			for (size_t i = 0; i < NUM_CHANNELS; i++) {
				atomic_set(&latest_ma[i],
					   convert_to_ma(sums[i] * RAW_SCALE / READ_SAMPLES, i));
			}
			atomic_set(&have_reading, 1);
		}

		next += CURRENT_PERIOD_MS;
		k_sleep(K_TIMEOUT_ABS_MS(next));
	}
}

int current_sensor_init(void)
{
	int32_t sums[NUM_CHANNELS] = {0};
	int16_t sample;
	int ret;

	if (!device_is_ready(adc_dev)) {
		return -ENODEV;
	}

	for (size_t i = 0; i < NUM_CHANNELS; i++) {
		struct adc_channel_cfg config = {
			.gain = ADC_GAIN_1,
			.reference = ADC_REF_INTERNAL,
			.acquisition_time = ADC_ACQ_TIME(ADC_ACQ_TIME_TICKS, 480),
			.channel_id = channels[i].adc_channel,
		};

		ret = adc_channel_setup(adc_dev, &config);
		if (ret != 0) {
			return ret;
		}
	}

	printk("Calibrating current sensors (no load current)\n");
	k_msleep(100);
	for (int n = 0; n < ZERO_SAMPLES; n++) {
		for (size_t i = 0; i < NUM_CHANNELS; i++) {
			ret = read_channel(channels[i].adc_channel, &sample);
			if (ret != 0) {
				return ret;
			}
			sums[i] += sample;
		}
		k_msleep(5);
	}
	printk("Zero counts:");
	for (size_t i = 0; i < NUM_CHANNELS; i++) {
		zero_scaled[i] = sums[i] * RAW_SCALE / ZERO_SAMPLES;
		printk(" %s=%d", channels[i].name, (int)(zero_scaled[i] / RAW_SCALE));
	}
	printk("\n");

	k_thread_create(&current_data, current_stack, K_THREAD_STACK_SIZEOF(current_stack),
			current_thread, NULL, NULL, NULL, PRIO_CURRENT, 0, K_NO_WAIT);
	k_thread_name_set(&current_data, "current");
	return 0;
}

int current_sensor_count(void)
{
	return NUM_CHANNELS;
}

const char *current_sensor_name(int i)
{
	return channels[i].name;
}

bool current_sensor_get_ma(int i, int32_t *ma)
{
	*ma = (int32_t)atomic_get(&latest_ma[i]);
	return atomic_get(&have_reading) != 0;
}
```

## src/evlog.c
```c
#include "evlog.h"

#include <stdarg.h>
#include <zephyr/kernel.h>
#include <zephyr/sys/printk.h>

#include "lab3_config.h"
#include "node_config.h"

#define EVLOG_TEXT  80
#define EVLOG_DEPTH 16

struct evlog_item {
	uint32_t ms;
	char text[EVLOG_TEXT];
};

K_MSGQ_DEFINE(evlog_q, sizeof(struct evlog_item), EVLOG_DEPTH, 4);
atomic_t evlog_dropped;

void evlog(const char *fmt, ...)
{
	struct evlog_item item = {.ms = k_uptime_get_32()};
	va_list ap;

	va_start(ap, fmt);
	vsnprintk(item.text, sizeof(item.text), fmt, ap);
	va_end(ap);
	if (k_msgq_put(&evlog_q, &item, K_NO_WAIT) != 0) {
		atomic_inc(&evlog_dropped);
	}
}

static void evlog_thread(void *p1, void *p2, void *p3)
{
	struct evlog_item item;

	ARG_UNUSED(p1);
	ARG_UNUSED(p2);
	ARG_UNUSED(p3);

	for (;;) {
		k_msgq_get(&evlog_q, &item, K_FOREVER);
		printk("[%s %u.%03us] >> %s\n", NODE_NAME, item.ms / 1000, item.ms % 1000, item.text);
	}
}

K_THREAD_DEFINE(evlog_tid, 1024, evlog_thread, NULL, NULL, NULL, PRIO_EVLOG, 0, 0);
```
